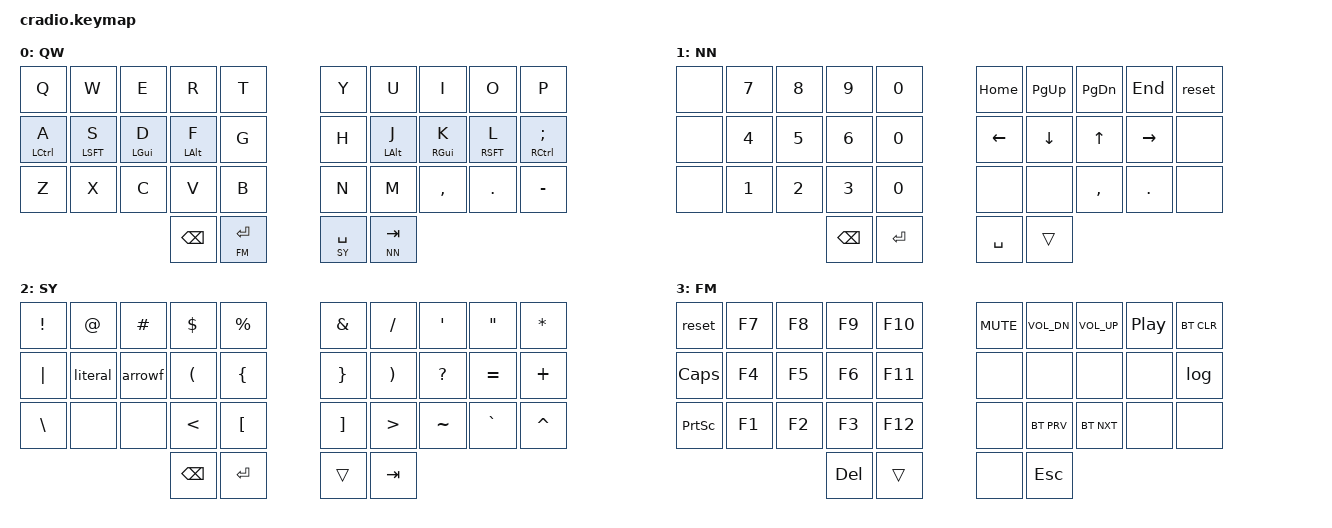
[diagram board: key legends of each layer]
/*
 * Copyright (c) 2020 The ZMK Contributors
 *
 * SPDX-License-Identifier: MIT
 */

#include <behaviors.dtsi>
#include <dt-bindings/zmk/keys.h>
#include <dt-bindings/zmk/bt.h>

&mt {
  flavor = "tap-preferred";
  tapping_term_ms = <200>;
};

#define QW 0
#define NN 1
#define SY 2
#define FM 3

/ {
  macros {
    log: log {
      label = "Log";
      compatible = "zmk,behavior-macro";
      #binding-cells = <0>;
			wait-ms = <30>;
			tap-ms = <30>;
			bindings
				= <&kp C &kp O &kp N &kp S &kp O &kp L &kp E &kp DOT &kp L &kp O &kp G &kp LPAR &kp RPAR>
				, <&kp LEFT>
				;
		};
    arrowf: arrowf {
      label = "Arrow Function";
      compatible = "zmk,behavior-macro";
      #binding-cells = <0>;
			wait-ms = <30>;
			tap-ms = <30>;
			bindings
				= <&kp EQUAL &kp GT>
				;
		};
    literal: literal {
      label = "String literal var";
      compatible = "zmk,behavior-macro";
      #binding-cells = <0>;
			wait-ms = <30>;
			tap-ms = <30>;
			bindings
				= <&kp DLLR &kp LBRC &kp RBRC>
				, <&kp LEFT>
				;
      };
   };
};

/ { 

	keymap {
		compatible = "zmk,keymap";
                
		QW {
			bindings = <
				&kp Q       &kp W       &kp E       &kp R       &kp T 			&kp Y       &kp U       &kp I       &kp O       &kp P 
				&mt LCTRL A &mt LSFT S  &mt LGUI D  &mt LALT F  &kp G 		  &kp H			  &mt LALT J  &mt RGUI K  &mt RSFT L 	&mt RCTRL SEMI
				&kp Z       &kp X       &kp C       &kp V       &kp B		    &kp N       &kp M       &kp CMMA    &kp DOT     &kp MINUS
																						&kp BSPC    &lt FM RET	&lt SY SPC  &lt NN TAB
			>;
		};

		NN {
			bindings = <
				&none       &kp N7      &kp N8      &kp N9      &kp N0 			&kp HOME    &kp PG_UP   &kp PG_DN   &kp END     &reset
				&none       &kp N4      &kp N5      &kp N6      &kp N0 		 	&kp LEFT    &kp DOWN    &kp UP      &kp RIGHT   &none
				&none       &kp N1      &kp N2      &kp N3      &kp N0  	  &none       &none       &kp CMMA    &kp DOT     &none
																						&kp BSPC    &kp RET  		&kp SPC     &trans 
			>;
		};
		
		SY {
			bindings = <
				&kp EXCL    &kp AT      &kp HASH    &kp DLLR    &kp PRCNT		&kp AMPS    &kp SLASH   &kp SQT     &kp DQT     &kp STAR 
				&kp PIPE    &literal    &arrowf  		&kp LPAR    &kp LBRC	 	&kp RBRC    &kp RPAR    &kp QMARK   &kp EQUAL   &kp PLUS
				&kp BSLH    &none       &none       &kp LT      &kp LBKT	  &kp RBKT    &kp GT      &kp TILDE   &kp GRAVE   &kp CARET
																						&kp BSPC    &kp RET  		&trans      &kp TAB
			>;
		};	
		
		FM {
			bindings = <
				&reset      &kp F7      &kp F8      &kp F9      &kp F10 		&kp K_MUTE  &kp K_VOL_DN &kp K_VOL_UP &kp C_PP  &bt BT_CLR
				&kp CAPS    &kp F4      &kp F5      &kp F6      &kp F11	   	&none    		&none    		&none       &none   			&log
				&kp PSCRN   &kp F1      &kp F2      &kp F3      &kp F12	    &none       &bt BT_PRV  &bt BT_NXT  &none       &none
																						&kp DEL     &trans     	&none       &kp ESC 
			>;
		};	
        
	};
};
